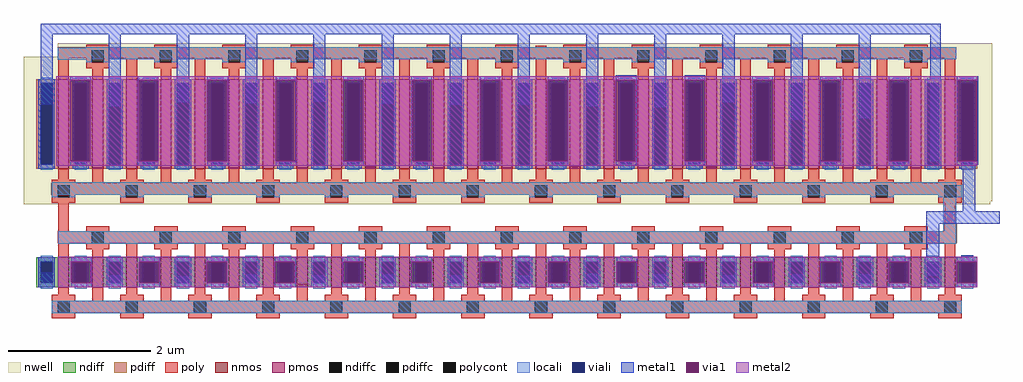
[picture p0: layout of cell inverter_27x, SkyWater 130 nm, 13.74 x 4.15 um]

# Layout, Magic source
magic
tech sky130A
magscale 1 2
<< nwell >>
rect 1358 2036 1492 2084
rect 1426 2032 1492 2036
rect 1468 1640 1492 2032
<< poly >>
rect 206 2074 236 2078
rect -1140 2042 1390 2074
rect -1138 1994 -1108 2042
rect -946 1994 -916 2042
rect -754 1994 -724 2042
rect -562 1996 -532 2042
rect -370 1994 -340 2042
rect -178 1998 -148 2042
rect 14 1996 44 2042
rect 206 2002 236 2042
rect 398 1994 428 2042
rect 590 1998 620 2042
rect 782 1998 812 2042
rect 974 1998 1004 2042
rect 1166 1998 1196 2042
rect 1358 1996 1388 2042
rect -1138 1692 -1108 1725
rect -1042 1692 -1012 1736
rect -850 1692 -820 1736
rect -658 1692 -628 1736
rect -466 1692 -436 1736
rect -274 1692 -244 1738
rect -82 1692 -52 1736
rect 110 1692 140 1736
rect 302 1692 332 1738
rect 494 1692 524 1736
rect 686 1692 716 1738
rect 878 1692 908 1736
rect 1070 1692 1100 1736
rect 1262 1692 1292 1736
rect 1358 1692 1388 1695
rect -1158 1658 1391 1692
rect -1138 1555 -1108 1658
rect 1357 1640 1391 1658
rect 1358 1578 1388 1640
rect -562 1555 -532 1556
rect 974 1555 1004 1556
rect 1166 1555 1196 1556
rect 1357 1555 1391 1578
rect -1139 1521 1391 1555
rect -1138 1482 -1108 1521
rect -946 1484 -916 1521
rect -754 1486 -724 1521
rect -562 1488 -532 1521
rect -370 1486 -340 1521
rect -178 1486 -148 1521
rect 14 1486 44 1521
rect 206 1486 236 1521
rect 398 1486 428 1521
rect 590 1486 620 1521
rect 782 1484 812 1521
rect 974 1488 1004 1521
rect 1166 1488 1196 1521
rect 1358 1488 1388 1521
rect -1042 1360 -1012 1398
rect -850 1360 -820 1398
rect -658 1360 -628 1398
rect -466 1360 -436 1408
rect -274 1360 -244 1398
rect -82 1360 -52 1396
rect 110 1360 140 1394
rect 302 1360 332 1394
rect 494 1360 524 1394
rect 686 1360 716 1394
rect 878 1360 908 1398
rect 1070 1360 1100 1394
rect 1262 1360 1292 1396
rect -1157 1326 1406 1360
<< locali >>
rect -1061 2072 1390 2074
rect -1140 2040 1390 2072
rect -1140 2038 -1044 2040
rect 1228 2038 1310 2040
rect -1156 1658 1390 1694
rect 1354 1556 1390 1658
rect -1138 1520 1390 1556
rect -1156 1324 1406 1360
<< metal1 >>
rect -1188 2110 1347 2140
rect -1188 1912 -1154 2110
rect -1104 1980 -1046 1992
rect -1048 1752 -1046 1980
rect -996 1908 -962 2110
rect -914 1980 -856 1992
rect -1104 1740 -1046 1752
rect -914 1752 -912 1980
rect -804 1918 -770 2110
rect -718 1980 -660 1992
rect -914 1740 -856 1752
rect -662 1752 -660 1980
rect -612 1916 -578 2110
rect -526 1980 -468 1992
rect -718 1740 -660 1752
rect -470 1752 -468 1980
rect -420 1920 -386 2110
rect -336 1980 -278 1992
rect -526 1740 -468 1752
rect -280 1752 -278 1980
rect -228 1914 -194 2110
rect -144 1980 -86 1992
rect -336 1740 -278 1752
rect -144 1752 -142 1980
rect -36 1912 -2 2110
rect 48 1980 106 1992
rect -144 1740 -86 1752
rect 48 1752 50 1980
rect 156 1912 190 2110
rect 240 1980 298 1992
rect 48 1740 106 1752
rect 296 1752 298 1980
rect 348 1908 382 2110
rect 432 1980 490 1994
rect 240 1740 298 1752
rect 488 1752 490 1980
rect 540 1904 574 2110
rect 626 1980 684 1994
rect 432 1742 490 1752
rect 682 1752 684 1980
rect 732 1918 766 2110
rect 816 1980 874 1992
rect 626 1742 684 1752
rect 816 1752 818 1980
rect 924 1870 958 2110
rect 1008 1980 1066 1992
rect 816 1740 874 1752
rect 1064 1752 1066 1980
rect 1116 1874 1150 2110
rect 1200 1980 1258 1992
rect 1008 1740 1066 1752
rect 1256 1752 1258 1980
rect 1317 1753 1347 2110
rect 1392 1980 1452 1992
rect 1200 1740 1258 1752
rect 1392 1752 1394 1980
rect 1450 1752 1452 1980
rect 1392 1742 1452 1752
rect 1404 1738 1444 1742
rect 1408 1612 1444 1738
rect 1306 1576 1512 1612
rect -1102 1470 -1044 1484
rect -1188 1398 -1154 1438
rect -1046 1410 -1044 1470
rect -910 1470 -852 1484
rect -1102 1398 -1044 1410
rect -996 1398 -962 1432
rect -854 1410 -852 1470
rect -720 1470 -662 1484
rect -910 1398 -852 1410
rect -804 1398 -770 1428
rect -664 1410 -662 1470
rect -528 1470 -470 1484
rect -720 1398 -662 1410
rect -612 1398 -578 1434
rect -472 1410 -470 1470
rect -338 1470 -280 1484
rect -528 1398 -470 1410
rect -420 1398 -386 1432
rect -338 1410 -336 1470
rect -144 1470 -86 1484
rect -338 1398 -280 1410
rect -228 1398 -194 1434
rect -88 1410 -86 1470
rect 48 1470 106 1484
rect -144 1398 -86 1410
rect -36 1398 -2 1432
rect 104 1410 106 1470
rect 242 1470 300 1484
rect 48 1398 106 1410
rect 156 1398 190 1430
rect 298 1410 300 1470
rect 434 1470 492 1484
rect 242 1398 300 1410
rect 348 1398 382 1436
rect 490 1410 492 1470
rect 624 1470 682 1484
rect 434 1398 492 1410
rect 540 1398 574 1434
rect 680 1410 682 1470
rect 818 1470 876 1484
rect 624 1398 682 1410
rect 732 1398 766 1432
rect 874 1410 876 1470
rect 1008 1470 1066 1484
rect 818 1398 876 1410
rect 924 1398 958 1434
rect 1064 1410 1066 1470
rect 1200 1470 1258 1484
rect 1008 1398 1066 1410
rect 1116 1398 1150 1434
rect 1256 1410 1258 1470
rect 1306 1430 1342 1576
rect 1404 1484 1438 1488
rect 1392 1470 1450 1484
rect 1200 1398 1258 1410
rect 1309 1398 1343 1423
rect 1448 1410 1450 1470
rect 1392 1398 1450 1410
<< via1 >>
rect -1104 1752 -1048 1980
rect -912 1752 -856 1980
rect -718 1752 -662 1980
rect -526 1752 -470 1980
rect -336 1752 -280 1980
rect -142 1752 -86 1980
rect 50 1752 106 1980
rect 240 1752 296 1980
rect 432 1752 488 1980
rect 626 1752 682 1980
rect 818 1752 874 1980
rect 1008 1752 1064 1980
rect 1200 1752 1256 1980
rect 1394 1752 1450 1980
rect -1102 1410 -1046 1470
rect -910 1410 -854 1470
rect -720 1410 -664 1470
rect -528 1410 -472 1470
rect -336 1410 -280 1470
rect -144 1410 -88 1470
rect 48 1410 104 1470
rect 242 1410 298 1470
rect 434 1410 490 1470
rect 624 1410 680 1470
rect 818 1410 874 1470
rect 1008 1410 1064 1470
rect 1200 1410 1256 1470
rect 1392 1410 1448 1470
<< metal2 >>
rect -1144 1980 1450 1992
rect -1144 1752 -1104 1980
rect -1048 1752 -912 1980
rect -856 1752 -718 1980
rect -662 1752 -526 1980
rect -470 1752 -336 1980
rect -280 1752 -142 1980
rect -86 1752 50 1980
rect 106 1752 240 1980
rect 296 1752 432 1980
rect 488 1752 626 1980
rect 682 1752 818 1980
rect 874 1752 1008 1980
rect 1064 1752 1200 1980
rect 1256 1752 1394 1980
rect -1144 1740 1450 1752
rect -1138 1470 1450 1484
rect -1138 1410 -1102 1470
rect -1046 1410 -910 1470
rect -854 1410 -720 1470
rect -664 1410 -528 1470
rect -472 1410 -336 1470
rect -280 1410 -144 1470
rect -88 1410 48 1470
rect 104 1410 242 1470
rect 298 1410 434 1470
rect 490 1410 624 1470
rect 680 1410 818 1470
rect 874 1410 1008 1470
rect 1064 1410 1200 1470
rect 1256 1410 1392 1470
rect 1448 1410 1450 1470
rect -1138 1398 1450 1410
use sky130_fd_pr__nfet_01v8_NJGLN5  sky130_fd_pr__nfet_01v8_NJGLN5_1
transform 1 0 125 0 1 1440
box -1325 -130 1325 130
use sky130_fd_pr__pfet_01v8_VR4B8J  sky130_fd_pr__pfet_01v8_VR4B8J_1
transform 1 0 125 0 1 1858
box -1361 -226 1361 226
<< end >>

# cell sky130_fd_pr__nfet_01v8_NJGLN5: kit device sky130_fd_pr__nfet_01v8, w 0.420 l 0.150 m 1 nf 27 diffcov 100 polycov 100 guard 0 glc 1 grc 1 gtc 1 gbc 1 tbcov 100 rlcov 100 topc 0 botc 0 poverlap 0 doverlap 1 lmin 0.15 wmin 0.42 compatible {sky130_fd_pr__nfet_01v8 sky130_fd_pr__nfet_01v8_lvt sky130_fd_bs_flash__special_sonosfet_star sky130_fd_pr__nfet_g5v0d10v5 sky130_fd_pr__nfet_05v0_nvt sky130_fd_pr__nfet_03v3_nvt} full_metal 0 viasrc 100 viadrn 100 viagate 0 viagb 0 viagr 0 viagl 0 viagt 0

# cell sky130_fd_pr__pfet_01v8_VR4B8J: kit device sky130_fd_pr__pfet_01v8, w 1.26 l 0.15 m 1 nf 27 diffcov 100 polycov 100 guard 0 glc 1 grc 1 gtc 1 gbc 1 tbcov 100 rlcov 100 topc 0 botc 0 poverlap 0 doverlap 1 lmin 0.15 wmin 0.42 compatible {sky130_fd_pr__pfet_01v8 sky130_fd_pr__pfet_01v8_lvt sky130_fd_pr__pfet_01v8_hvt sky130_fd_pr__pfet_g5v0d10v5} full_metal 0 viasrc 100 viadrn 100 viagate 0 viagb 0 viagr 0 viagl 0 viagt 0
